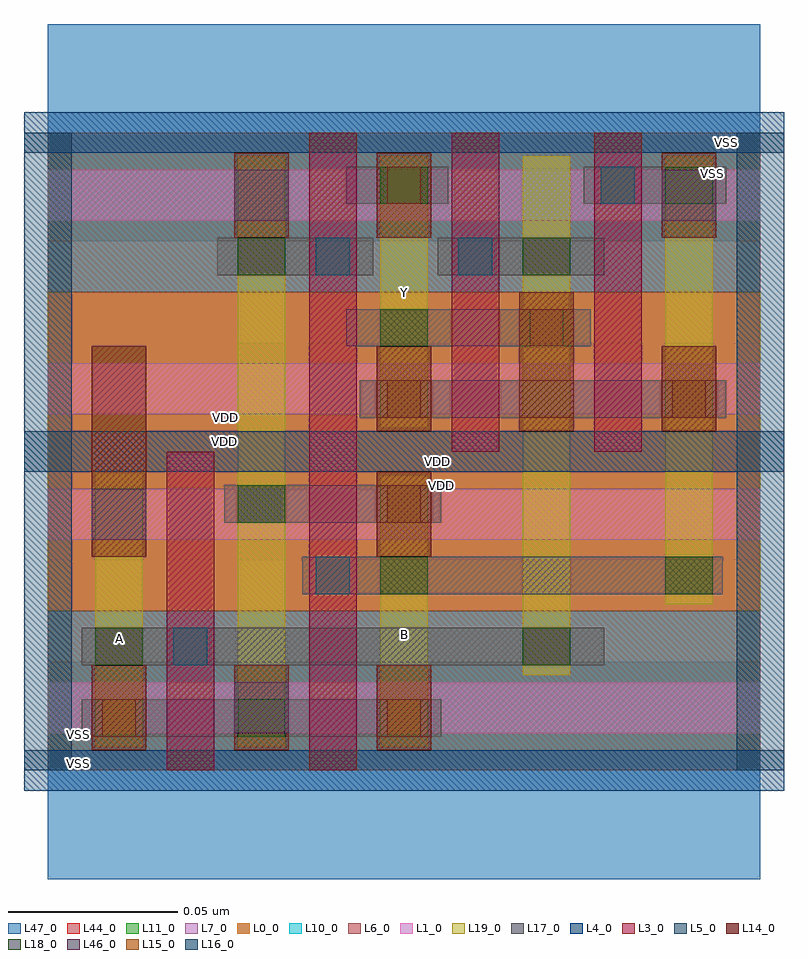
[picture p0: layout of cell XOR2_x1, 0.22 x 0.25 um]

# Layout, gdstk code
import gdstk
lib = gdstk.Library(unit=1e-6, precision=5e-10)
def R(c, l, rs):  # rectangles x0, y0, x1, y1
    for r in rs: c.add(gdstk.rectangle(r[:2], r[2:], *l))
def A(c, l, x, y, w, h, nx, ny, dx, dy):  # array of equal rectangles
    R(c, l, [(x+i*dx, y+j*dy, x+i*dx+w, y+j*dy+h) for i in range(nx) for j in range(ny)])
L0_0 = (0, 0)
L1_0 = (1, 0)
L3_0 = (3, 0)
L4_0 = (4, 0)
L5_0 = (5, 0)
L6_0 = (6, 0)
L7_0 = (7, 0)
L10_0 = (10, 0)
L11_0 = (11, 0)
L14_0 = (14, 0)
L15_0 = (15, 0)
L16_0 = (16, 0)
L17_0 = (17, 0)
L18_0 = (18, 0)
L19_0 = (19, 0)
L44_0 = (44, 0)
L46_0 = (46, 0)
L47_0 = (47, 0)

xor2_x1 = lib.new_cell('XOR2_x1')
R(xor2_x1, L0_0, [(0,0.047,0.21,0.141)])
R(xor2_x1, L1_0, [(0,0.011,0.21,0.026), (0,0.068,0.21,0.083), (0,0.105,0.21,0.12), (0,0.162,0.21,0.177)])
A(xor2_x1, L3_0, 0.077, 0.094, 0.014, 0.094, 3, 1, 0.042, 0)
R(xor2_x1, L3_0, [(0.035,0,0.049,0.094), (0.077,0,0.091,0.094)])
A(xor2_x1, L4_0, -0.007, -0.006, 0.224, 0.012, 1, 3, 0, 0.094)
R(xor2_x1, L5_0, [(-0.007,0,0.007,0.188), (0.203,0,0.217,0.188)])
R(xor2_x1, L6_0, [(0,0,0.21,0.047), (0,0.141,0.21,0.188)])
R(xor2_x1, L7_0, [(0,0.047,0.21,0.141)])
R(xor2_x1, L10_0, [(0,0,0.21,0.047), (0,0.141,0.21,0.188)])
R(xor2_x1, L11_0, [(0,0.047,0.21,0.141)])
A(xor2_x1, L14_0, 0.013, 0.006, 0.016, 0.025, 3, 1, 0.042, 0)
R(xor2_x1, L14_0, [(0.013,0.063,0.029,0.125), (0.097,0.063,0.113,0.088), (0.097,0.1,0.113,0.125), (0.139,0.1,0.155,0.141), (0.181,0.1,0.197,0.125), (0.055,0.157,0.071,0.182), (0.097,0.157,0.113,0.182), (0.181,0.157,0.197,0.182)])
R(xor2_x1, L15_0, [(0.016,0.01,0.026,0.021), (0.1,0.01,0.11,0.021), (0.1,0.073,0.11,0.084), (0.1,0.104,0.11,0.115), (0.184,0.104,0.194,0.115), (0.142,0.125,0.152,0.136), (0.1,0.167,0.11,0.178)])
R(xor2_x1, L16_0, [(0.037,0.031,0.047,0.042), (0.079,0.052,0.089,0.063), (0.079,0.146,0.089,0.157), (0.121,0.146,0.131,0.157), (0.163,0.167,0.173,0.178)])
R(xor2_x1, L17_0, [(0.01,0.01,0.116,0.021), (0.01,0.031,0.164,0.042), (0.075,0.052,0.199,0.063), (0.052,0.073,0.116,0.084), (0.092,0.104,0.2,0.115), (0.088,0.125,0.16,0.136), (0.05,0.146,0.096,0.157), (0.115,0.146,0.164,0.157), (0.088,0.167,0.118,0.178), (0.158,0.167,0.2,0.178)])
R(xor2_x1, L18_0, [(0.056,0.01,0.07,0.021), (0.014,0.031,0.028,0.042), (0.14,0.031,0.154,0.042), (0.098,0.052,0.112,0.063), (0.182,0.052,0.196,0.063), (0.056,0.073,0.07,0.084), (0.098,0.125,0.112,0.136), (0.056,0.146,0.07,0.157), (0.14,0.146,0.154,0.157), (0.098,0.167,0.112,0.178), (0.182,0.167,0.196,0.178), (0.182,0.167,0.196,0.178)])
R(xor2_x1, L19_0, [(0.014,0.007,0.028,0.088), (0.056,0.007,0.07,0.088), (0.098,0.007,0.112,0.087), (0.14,0.028,0.154,0.181), (0.182,0.049,0.196,0.181), (0.056,0.088,0.07,0.101), (0.056,0.101,0.07,0.181), (0.098,0.101,0.112,0.181)])
R(xor2_x1, L44_0, [(0,0,0.21,0.188)])
R(xor2_x1, L46_0, [(0.055,0.011,0.071,0.026), (0.013,0.068,0.029,0.083), (0.055,0.162,0.071,0.177), (0.181,0.162,0.197,0.177)])
A(xor2_x1, L47_0, 0, -0.032, 0.21, 0.064, 1, 3, 0, 0.094)
xor2_x1.add(gdstk.Label('VSS', (0.196,0.176), layer=47, texttype=2))
xor2_x1.add(gdstk.Label('VSS', (0.009,0.0105), layer=47, texttype=2))
xor2_x1.add(gdstk.Label('VDD', (0.116,0.084), layer=47, texttype=2))
xor2_x1.add(gdstk.Label('VDD', (0.0525,0.104), layer=47, texttype=2))
xor2_x1.add(gdstk.Label('Y', (0.105,0.141), layer=19, texttype=2))
xor2_x1.add(gdstk.Label('B', (0.105,0.04), layer=19, texttype=2))
xor2_x1.add(gdstk.Label('A', (0.021,0.039), layer=19, texttype=2))
xor2_x1.add(gdstk.Label('VDD', (0.115,0.091), layer=0, texttype=2))
xor2_x1.add(gdstk.Label('VDD', (0.052,0.097), layer=0, texttype=2))
xor2_x1.add(gdstk.Label('VSS', (0.009,0.002), layer=54, texttype=2))
xor2_x1.add(gdstk.Label('VSS', (0.2,0.185), layer=54, texttype=2))

lib.write_gds('XOR2_x1.gds')
